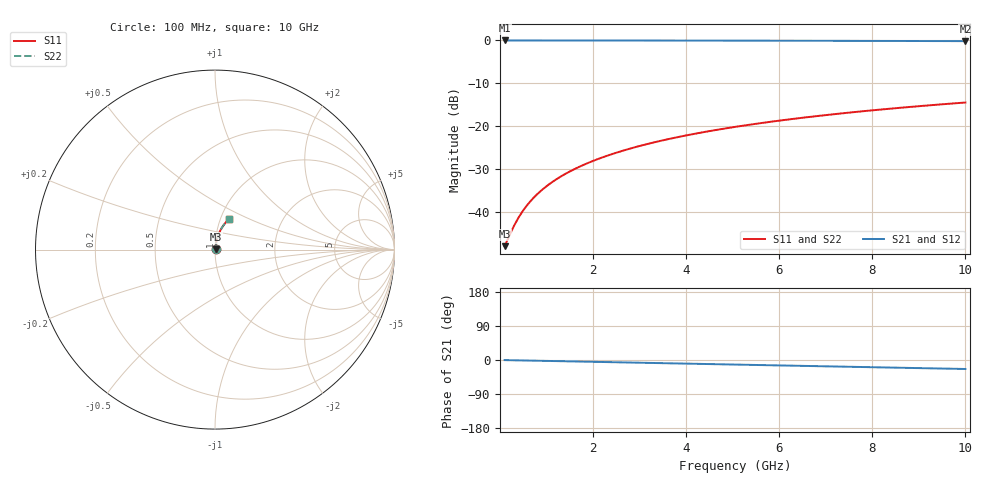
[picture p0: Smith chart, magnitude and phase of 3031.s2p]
# Hz S RI R 50.00
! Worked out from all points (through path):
!   100 points, 100 MHz to 10 GHz, reference 50 ohm
!   highest |S21| = -0.03 dB at 100 MHz (marker M1); lowest = -0.2 dB at 10 GHz (marker M2)
!   group delay of S21, straight-line fit = 6.6 ps
!   lowest |S11| = -48.1 dB at 100 MHz (marker M3), VSWR 1.01, Z = 50.3 + j0.195 ohm
!   |S11| at or under -10 dB: start of sweep to end of sweep
!   |S22| runs from -48.1 to -14.5 dB; largest |S21 - S12| = 0
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1e8  0.00345 0.00194  0.9965 -0.00416  0.9965 -0.00416  0.00345 0.00194
3e8  0.00355 0.00581  0.9964 -0.0125  0.9964 -0.0125  0.00355 0.00581
4e8  0.00362 0.00774  0.9963 -0.0166  0.9963 -0.0166  0.00362 0.00774
5e8  0.00371 0.00968  0.9962 -0.0208  0.9962 -0.0208  0.00371 0.00968
6e8  0.00381 0.0116  0.9961 -0.0249  0.9961 -0.0249  0.00381 0.0116
7e8  0.00392 0.0135  0.9959 -0.0291  0.9959 -0.0291  0.00392 0.0135
8e8  0.00405 0.0155  0.9958 -0.0333  0.9958 -0.0333  0.00405 0.0155
9e8  0.00419 0.0174  0.9956 -0.0374  0.9956 -0.0374  0.00419 0.0174
1e9  0.00435 0.0193  0.9954 -0.0416  0.9954 -0.0416  0.00435 0.0193
1.2e9  0.00472 0.0232  0.9949 -0.0499  0.9949 -0.0499  0.00472 0.0232
1.5e9  0.00539 0.0289  0.994 -0.0623  0.994 -0.0623  0.00539 0.0289
1.8e9  0.0062 0.0347  0.993 -0.0747  0.993 -0.0747  0.0062 0.0347
2.1e9  0.00715 0.0404  0.9917 -0.0871  0.9917 -0.0871  0.00715 0.0404
2.5e9  0.00864 0.048  0.9898 -0.1036  0.9898 -0.1036  0.00864 0.048
2.9e9  0.0104 0.0555  0.9875 -0.12  0.9875 -0.12  0.0104 0.0555
3.4e9  0.0129 0.0648  0.9842 -0.1405  0.9842 -0.1405  0.0129 0.0648
4.2e9  0.0177 0.0795  0.9778 -0.1729  0.9778 -0.1729  0.0177 0.0795
5.1e9  0.0243 0.0955  0.9691 -0.209  0.9691 -0.209  0.0243 0.0955
5.9e9  0.0311 0.1092  0.9601 -0.2406  0.9601 -0.2406  0.0311 0.1092
6.7e9  0.0388 0.1225  0.9498 -0.2718  0.9498 -0.2718  0.0388 0.1225
8.4e9  0.0579 0.1487  0.9242 -0.336  0.9242 -0.336  0.0579 0.1487
1e10  0.0789 0.1706  0.8956 -0.3937  0.8956 -0.3937  0.0789 0.1706
